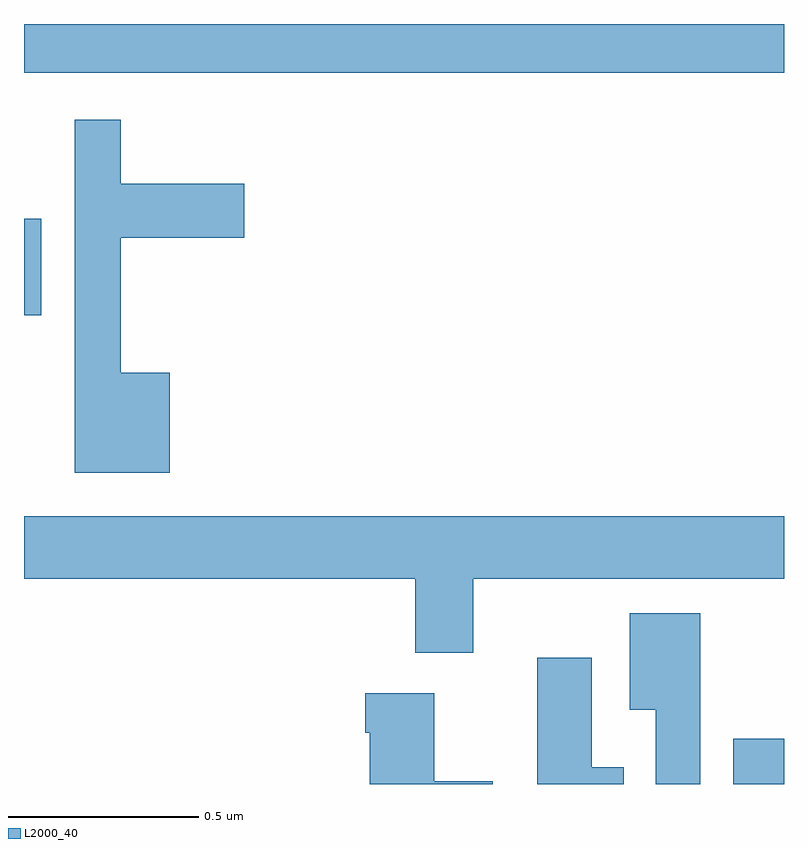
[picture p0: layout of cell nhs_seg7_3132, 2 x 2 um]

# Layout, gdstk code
import gdstk
lib = gdstk.Library(unit=1e-6, precision=1e-09)
def R(c, l, rs):  # rectangles x0, y0, x1, y1
    for r in rs: c.add(gdstk.rectangle(r[:2], r[2:], *l))
def P(c, l, *ps):  # polygons
    for p in ps: c.add(gdstk.Polygon(p, *l))
L2000_40 = (2000, 40)

nhs_seg7_3132 = lib.new_cell('nhs_seg7_3132')
R(nhs_seg7_3132, L2000_40, [(155.867,1076,156,1076.119), (154,1077.233,154.045,1077.487), (154,1077.872,156,1078)])
P(nhs_seg7_3132, L2000_40, [(154.384,1077.082),(154.255,1077.082),(154.255,1077.437),(154.579,1077.437),(154.579,1077.579),(154.255,1077.579),(154.255,1077.748),(154.133,1077.748),(154.133,1076.819),(154.384,1076.819)],
  [(155.182,1076.54),(156,1076.54),(156,1076.704),(154,1076.704),(154,1076.54),(155.03,1076.54),(155.03,1076.346),(155.182,1076.346)],
  [(155.779,1076.449),(155.594,1076.449),(155.594,1076.195),(155.663,1076.195),(155.663,1076),(155.779,1076)],
  [(155.578,1076.044),(155.494,1076.044),(155.494,1076.332),(155.351,1076.332),(155.351,1076),(155.578,1076)],
  [(155.233,1076.007),(155.08,1076.007),(155.08,1076.239),(154.898,1076.239),(154.898,1076.135),(154.91,1076.135),(154.91,1076),(155.233,1076)])

lib.write_gds('nhs_seg7_3132.gds')
